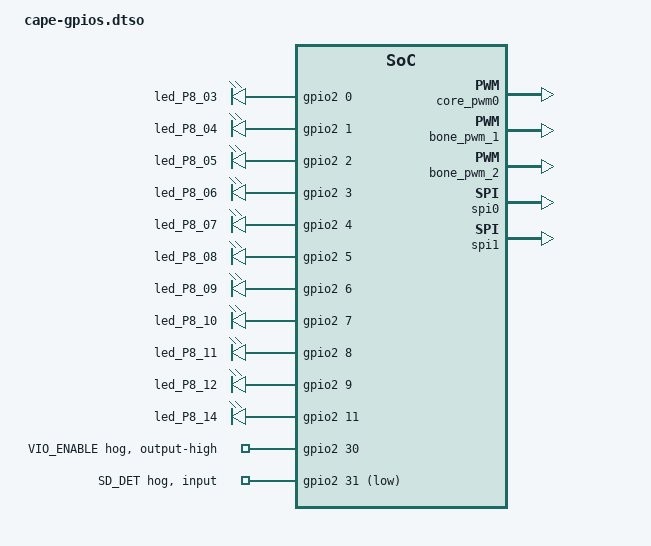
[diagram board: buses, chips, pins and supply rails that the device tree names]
// SPDX-License-Identifier: (GPL-2.0 OR MIT)
/* Copyright (c) 2020-2021 Microchip Technology Inc */

/dts-v1/;
/plugin/;

&{/chosen} {
	overlays {
		DEFAULT-CAPE-GATEWARE = "GATEWARE_GIT_VERSION";
	};
};

&{/} {
	fabric-bus@40000000 {
		core_pwm0: pwm@41000000 {
			compatible = "microchip,corepwm-rtl-v4";
			reg = <0x0 0x41000000 0x0 0xF0>;
			microchip,sync-update-mask = /bits/ 32 <0>;
			#pwm-cells = <3>;
			clocks = <&fabric_clk3>;
			status = "okay";
		};

		cape_gpios_p8: gpio@41100000 {
			compatible = "microchip,core-gpio";
			reg = <0x0 0x41100000 0x0 0x1000>;
			clocks = <&fabric_clk3>;
			gpio-controller;
			#gpio-cells = <2>;
			ngpios=<16>;
			status = "okay";
			gpio-line-names = "P8_31", "P8_32", "P8_33", "P8_34",
			                  "P8_35", "P8_36", "P8_37", "P8_38",
			                  "P8_39", "P8_40", "P8_41", "P8_42",
			                  "P8_43", "P8_44", "P8_45", "P8_46";
		};

		cape_gpios_p9: gpio@41200000 {
			compatible = "microchip,core-gpio";
			reg = <0x0 0x41200000 0x0 0x1000>;
			clocks = <&fabric_clk3>;
			gpio-controller;
			#gpio-cells = <2>;
			ngpios=<21>;
			status = "okay";
			gpio-line-names = "", "P9_12", "", "", "P9_15",
			                  "", "", "", "", "",
			                  "P9_23", "", "P9_25", "", "P9_27",
			                  "", "", "P9_30", "", "P9_41",
			                  "";
		};

		bone_pwm_1: pwm@41400000 {
			compatible = "microchip,corepwm-rtl-v4";
			reg = <0x0 0x41400000 0x0 0xF0>;
			microchip,sync-update-mask = /bits/ 32 <0>;
			#pwm-cells = <3>;
            status = "okay";
			clocks = <&fabric_clk3>;
		};

		bone_pwm_2: pwm@41500000 {
			compatible = "microchip,corepwm-rtl-v4";
			reg = <0x0 0x41500000 0x0 0xF0>;
			microchip,sync-update-mask = /bits/ 32 <0>;
			#pwm-cells = <3>;
            status = "okay";
			clocks = <&fabric_clk3>;
		};
	};

	leds {
		compatible = "gpio-leds";

		led_P8_03 {
			status = "okay";
			gpios = <&gpio2 0 0>;
			default-state = "on";
		};

		led_P8_04 {
			status = "okay";
			gpios = <&gpio2 1 0>;
			default-state = "on";
		};

		led_P8_05 {
			status = "okay";
			gpios = <&gpio2 2 0>;
			default-state = "on";
		};

		led_P8_06 {
			status = "okay";
			gpios = <&gpio2 3 0>;
			linux,default-trigger = "heartbeat";
			default-state = "on";
		};

		led_P8_07 {
			status = "okay";
			gpios = <&gpio2 4 0>;
			default-state = "off";
		};

		led_P8_08 {
			status = "okay";
			gpios = <&gpio2 5 0>;
			default-state = "off";
		};

		led_P8_09 {
			status = "okay";
			gpios = <&gpio2 6 0>;
			default-state = "off";
		};

		led_P8_10 {
			status = "okay";
			gpios = <&gpio2 7 0>;
			default-state = "off";
		};

		led_P8_11 {
			status = "okay";
			gpios = <&gpio2 8 0>;
			default-state = "off";
		};

		led_P8_12 {
			status = "okay";
			gpios = <&gpio2 9 0>;
			default-state = "off";
		};

		led_P8_14 {
			status = "okay";
			gpios = <&gpio2 11 0>;
			default-state = "off";
		};
	};
};

&gpio2 {
	interrupts = <53>, <53>, <53>, <53>,
		     <53>, <53>, <53>, <53>,
		     <53>, <53>, <53>, <53>,
		     <53>, <53>, <53>, <53>,
		     <53>, <53>, <53>, <53>,
		     <53>, <53>, <53>, <53>,
		     <53>, <53>, <53>, <53>,
		     <53>, <53>, <53>, <53>;
	gpio-line-names = "P8_3_USER_LED_0", "P8_4_USER_LED_1", "P8_5_USER_LED_2",
					"P8_6_USER_LED_3", "P8_7_USER_LED_4", "P8_8_USER_LED_5",
					"P8_9_USER_LED_6", "P8_10_USER_LED_7", "P8_11_USER_LED_8",
					"P8_12_USER_LED_9", "", "P8_14_USER_LED_11",
					"P8_15", "P8_16", "P8_17", "P8_18", "",
					"P8_20", "P8_21", "P8_22",	"P8_23", "P8_24",
					"P8_25", "P8_26", "P8_27", "P8_28", "P8_29",
					"P8_30",
					"M2_W_DISABLE1", "M2_W_DISABLE2",
					"VIO_ENABLE", "SD_DET";
	status = "okay";

	vio_enable {
		gpio-hog;
		gpios = <30 30>;
		output-high;
		line-name = "VIO_ENABLE";
	};

	sd_det {
		gpio-hog;
		gpios = <31 31>;
		input;
		line-name = "SD_DET";
	};
};

&mmuart2 {
	status = "okay";
	symlink = "bone/uart/1";
};

&mmuart4 {
	status = "okay";
	symlink = "bone/uart/4";
};

&spi0 {
	status = "okay";
	symlink = "bone/spi/0";
};

&spi1 {
	status = "okay";
	symlink = "bone/spi/1";
};
